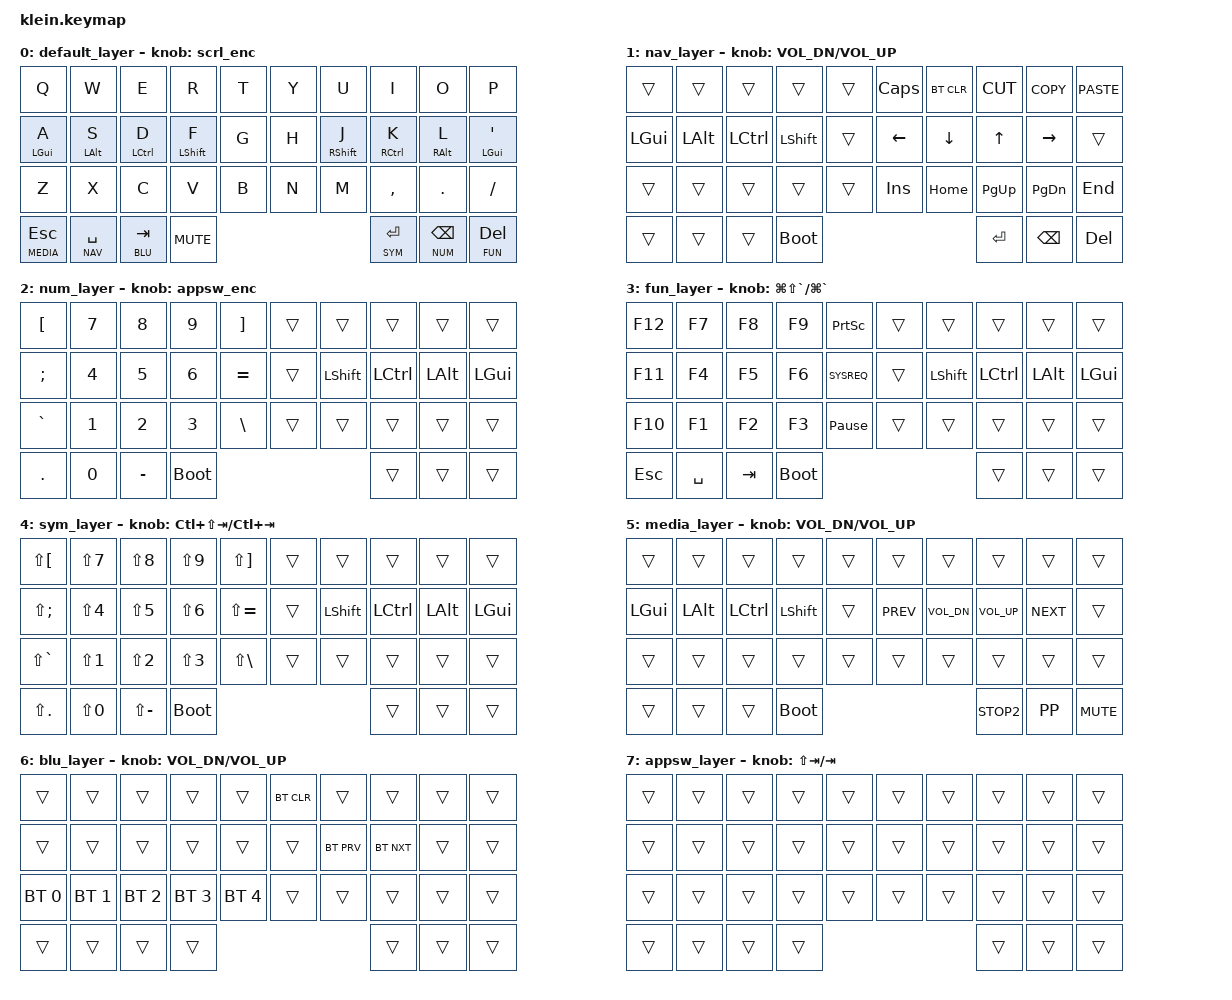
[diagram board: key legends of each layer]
/*
 * Copyright (c) 2020 The ZMK Contributors
 *
 * SPDX-License-Identifier: MIT
 */


#include <behaviors.dtsi>
#include <dt-bindings/zmk/keys.h>
#include <dt-bindings/zmk/bt.h>
#include <dt-bindings/zmk/outputs.h>
#include <dt-bindings/zmk/mouse.h>
#include <dt-bindings/zmk/input_transform.h>

#include <dt-bindings/zmk/pointing.h>
#include <behaviors.dtsi>

#define BASE 0
#define NAV  1
#define NUM  2
#define FUN  3
#define SYM  4
#define MEDIA  5
#define BLU 6
#define APPSW 7  // auto-enabled while the knob drives the Cmd+Tab switcher

// Knob bindings: first binding = counter-clockwise, second = clockwise
// (same order as the volume bindings below). Swap pairs if a direction feels backwards.

// Wheel speed per detent. &msc emits speed * 16ms / 1000 per 16ms tick and the
// knob holds it for one tick (tap-ms below), so 150 => 2 wheel notches per detent.
#define ENC_SCROLL_SPEED 150

&mt {
  quick-tap-ms = <100>;
  global-quick-tap;
  flavor = "tap-preferred";
  tapping-term-ms = <180>;
};

/ {
    behaviors {
        // Base layer: knob = mouse wheel
        scrl_enc: scrl_enc {
            compatible = "zmk,behavior-sensor-rotate";
            #sensor-binding-cells = <0>;
            bindings = <&msc MOVE_Y(ENC_SCROLL_SPEED)>, <&msc MOVE_Y(-ENC_SCROLL_SPEED)>;
            tap-ms = <24>;
        };

        // NUM layer (hold BKSP): knob = Cmd+Tab app switcher.
        // First detent turns on APPSW and presses Right Cmd, held until BKSP is released.
        // Right Cmd is used so it never clashes with the home-row Cmd (LGUI on A and ').
        appsw_enc: appsw_enc {
            compatible = "zmk,behavior-sensor-rotate";
            #sensor-binding-cells = <0>;
            bindings = <&appsw_p>, <&appsw_n>;
        };

        appsw_n: appsw_n {
            compatible = "zmk,behavior-macro";
            #binding-cells = <0>;
            wait-ms = <0>;
            bindings
                = <&macro_tap &tog_on APPSW>
                , <&macro_press &kp RGUI>
                , <&macro_tap &kp TAB>
                ;
        };

        appsw_p: appsw_p {
            compatible = "zmk,behavior-macro";
            #binding-cells = <0>;
            wait-ms = <0>;
            bindings
                = <&macro_tap &tog_on APPSW>
                , <&macro_press &kp RGUI>
                , <&macro_tap &kp LS(TAB)>
                ;
        };

        // Momentary layer that, on release, also lets go of the switcher's Cmd and APPSW.
        // RGUI is released twice in case a very fast flick pressed it twice; extra releases are no-ops.
        mo_appsw: mo_appsw {
            compatible = "zmk,behavior-macro-one-param";
            #binding-cells = <1>;
            wait-ms = <0>;
            bindings
                = <&macro_param_1to1>
                , <&macro_press &mo MACRO_PLACEHOLDER>
                , <&macro_pause_for_release>
                , <&macro_release &kp RGUI &kp RGUI>
                , <&macro_tap &tog_off APPSW>
                , <&macro_param_1to1>
                , <&macro_release &mo MACRO_PLACEHOLDER>
                ;
        };

        // Same as &lt, but the hold side is &mo_appsw
        lt_appsw: lt_appsw {
            compatible = "zmk,behavior-hold-tap";
            #binding-cells = <2>;
            flavor = "tap-preferred";
            tapping-term-ms = <200>;
            bindings = <&mo_appsw>, <&kp>;
        };

        tog_on: tog_on {
            compatible = "zmk,behavior-toggle-layer";
            #binding-cells = <1>;
            toggle-mode = "on";
        };

        tog_off: tog_off {
            compatible = "zmk,behavior-toggle-layer";
            #binding-cells = <1>;
            toggle-mode = "off";
        };
    };

    keymap {
        compatible = "zmk,keymap";

        default_layer {
//          ------------------------------------------------------------------------------------------------------------
//          |  Q  |  W  |  E   |  R   |  T   |                                           |  Y   |  U    |  I    |  O   |   P   |
//          |  A  |  S  |  D   |  F   |  G   |                                           |  H   |  J    |  K    |  L   |   '   |
//          |  Z  |  X  |  C   |  V   |  B   |                                           |  N   |  M    |  ,    |  .   |   /   |
//                      | ESC  | SPC |  TAB | BOOTLOADER |                          | RET | BKSP | DEL |

            bindings = <
&kp Q          &kp W          &kp E          &kp R          &kp T               &kp Y          &kp U          &kp I          &kp O          &kp P
&mt LGUI A     &mt LALT S     &mt LCTRL D    &mt LSHFT F    &kp G               &kp H          &mt RSHFT J    &mt RCTRL K    &mt RALT L     &mt LGUI SQT
&kp Z          &kp X          &kp C          &kp V          &kp B               &kp N          &kp M          &kp COMMA      &kp DOT        &kp FSLH
&lt MEDIA ESC  &lt NAV SPACE  &lt BLU TAB    &kp K_MUTE                                                       &lt SYM RET    &lt_appsw NUM BKSP &lt FUN DEL
            >;
            sensor-bindings = <&scrl_enc>;
        };

        nav_layer {

            bindings = <
&trans         &trans         &trans         &trans         &trans              &kp CAPSLOCK   &bt BT_CLR     &kp K_CUT      &kp K_COPY     &kp K_PASTE
&kp LGUI       &kp LALT       &kp LCTRL      &kp LSHFT      &trans              &kp LEFT       &kp DOWN       &kp UP         &kp RIGHT      &trans
&trans         &trans         &trans         &trans         &trans              &kp INSERT     &kp HOME       &kp PG_UP      &kp PG_DN      &kp END
&trans         &trans         &trans         &bootloader                                                      &kp RET        &kp BKSP       &kp DEL
            >;
        sensor-bindings = <&inc_dec_kp C_VOL_DN C_VOL_UP>;
        };

        num_layer {
            
            bindings = <
&kp LBKT       &kp N7         &kp N8         &kp N9         &kp RBKT            &trans         &trans         &trans         &trans         &trans
&kp SEMI       &kp N4         &kp N5         &kp N6         &kp EQUAL           &trans         &kp LSHFT      &kp LCTRL      &kp LALT       &kp LGUI
&kp GRAVE      &kp N1         &kp N2         &kp N3         &kp BSLH            &trans         &trans         &trans         &trans         &trans
&kp PERIOD     &kp N0         &kp MINUS      &bootloader                                                      &trans         &trans         &trans
            >;
            sensor-bindings = <&appsw_enc>;  // hold BKSP + knob: switch apps (Cmd+Tab)
        };

        fun_layer {
            
            bindings = <
&kp F12        &kp F7         &kp F8         &kp F9         &kp PSCRN           &trans         &trans         &trans         &trans         &trans
&kp F11        &kp F4         &kp F5         &kp F6         &kp SYSREQ          &trans         &kp LSHFT      &kp LCTRL      &kp LALT       &kp LGUI
&kp F10        &kp F1         &kp F2         &kp F3         &kp PAUSE_BREAK     &trans         &trans         &trans         &trans         &trans
&kp ESC        &kp SPACE      &kp TAB        &bootloader                                                      &trans         &trans         &trans
            >;
            sensor-bindings = <&inc_dec_kp LG(LS(GRAVE)) LG(GRAVE)>;  // hold DEL + knob: windows of the same app (Cmd+`)
        };

        sym_layer {
            
            bindings = <
&kp LS(LBKT)   &kp LS(N7)     &kp LS(N8)     &kp LS(N9)     &kp LS(RBKT)        &trans         &trans         &trans         &trans         &trans
&kp LS(SEMI)   &kp LS(N4)     &kp LS(N5)     &kp LS(N6)     &kp LS(EQUAL)       &trans         &kp LSHFT      &kp LCTRL      &kp LALT       &kp LGUI
&kp LS(GRAVE)  &kp LS(N1)     &kp LS(N2)     &kp LS(N3)     &kp LS(BSLH)        &trans         &trans         &trans         &trans         &trans
&kp LS(PERIOD) &kp LS(N0)     &kp LS(MINUS)  &bootloader                                                      &trans         &trans         &trans
            >;
            sensor-bindings = <&inc_dec_kp LC(LS(TAB)) LC(TAB)>;  // hold RET + knob: browser/editor tabs (Ctrl+Tab)
        };

        media_layer {
            
            bindings = <
&trans         &trans         &trans         &trans         &trans              &trans         &trans         &trans         &trans         &trans
&kp LGUI       &kp LALT       &kp LCTRL      &kp LSHFT      &trans              &kp K_PREV     &kp K_VOL_DN   &kp K_VOL_UP   &kp K_NEXT     &trans
&trans         &trans         &trans         &trans         &trans              &trans         &trans         &trans         &trans         &trans
&trans         &trans         &trans         &bootloader                                                      &kp K_STOP2    &kp K_PP       &kp K_MUTE
            >;
        sensor-bindings = <&inc_dec_kp C_VOL_DN C_VOL_UP>;
        };

        blu_layer {
            bindings = <
&trans         &trans         &trans         &trans         &trans              &bt BT_CLR     &trans         &trans         &trans         &trans
&trans         &trans         &trans         &trans         &trans              &trans         &bt BT_PRV     &bt BT_NXT     &trans         &trans
&bt BT_SEL 0   &bt BT_SEL 1   &bt BT_SEL 2   &bt BT_SEL 3   &bt BT_SEL 4        &trans         &trans         &trans         &trans         &trans
&trans         &trans         &trans         &trans                                                           &trans         &trans         &trans
            >;
        sensor-bindings = <&inc_dec_kp C_VOL_DN C_VOL_UP>;
        };

        // Turned on by the first knob detent on NUM; Right Cmd is already held, so just Tab
        appsw_layer {
            bindings = <
&trans         &trans         &trans         &trans         &trans              &trans         &trans         &trans         &trans         &trans
&trans         &trans         &trans         &trans         &trans              &trans         &trans         &trans         &trans         &trans
&trans         &trans         &trans         &trans         &trans              &trans         &trans         &trans         &trans         &trans
&trans         &trans         &trans         &trans                                                           &trans         &trans         &trans
            >;
        sensor-bindings = <&inc_dec_kp LS(TAB) TAB>;
        };
    };
};
 
